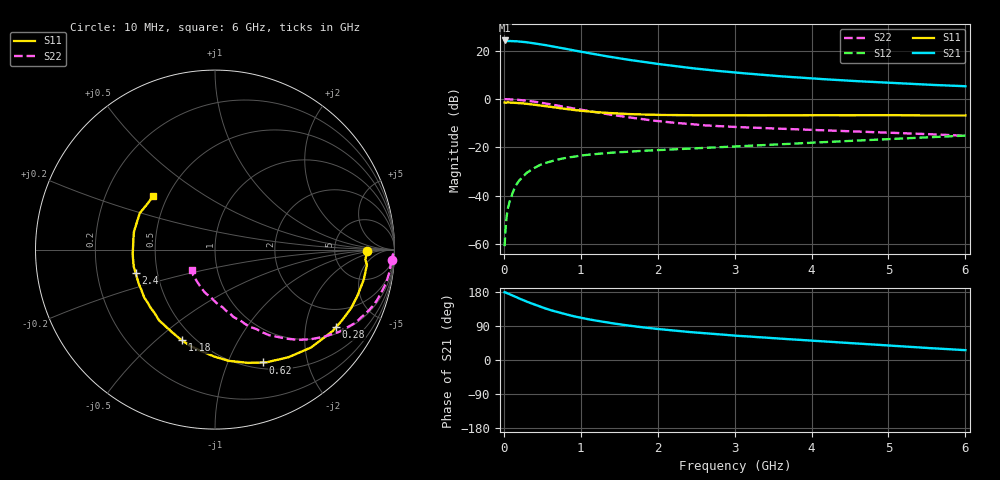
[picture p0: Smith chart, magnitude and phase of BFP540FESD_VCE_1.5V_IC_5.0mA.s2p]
! Infineon Technologies  Discrete & RF Semiconductors
! BFP540FESD
! VCE =  1.5 V,  IC =  5.0 mA
! Common Emitter S-Parameters:  Nov 2015
# GHz  S  MA  R  50
!  f  S11  S21  S12  S22
! GHz  MAG  ANG  MAG  ANG  MAG  ANG  MAG  ANG
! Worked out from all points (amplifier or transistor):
!   210 points, 10 MHz to 6 GHz, reference 50 ohm
!   highest |S21| = 24.2 dB at 10 MHz (marker M1)
!   |S21| within 3 dB of that: start of sweep to 726.3 MHz
!   unconditionally stable (mu >= 1): 2.711 GHz to end of sweep
!   at 185 MHz: K = 0.08, MSG = 29.1 dB, |S12| = -34.4 dB
!   at 1.52 GHz: K = 0.63, MSG = 19.4 dB, |S12| = -22.0 dB
!   at 6 GHz: K = 1.31, MAG = 6.9 dB, |S12| = -15.2 dB
!   S11 on the Smith chart (normalised r, x): 10 MHz: 12, -1; 280 MHz: 1.23, -2.96; 620 MHz: 0.57, -1.35; 1.18 GHz: 0.43, -0.61; 2.4 GHz: 0.38, -0.13; 6 GHz: 0.42, +0.31
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0.01  0.8492 -0.4  16.26 178.8  0.0009 79.1  0.9886 -3.5
0.02  0.8393 -3.8  15.76 178.3  0.0018 82.6  0.9927 -1.5
0.04  0.8468 -5.1  15.84 176.6  0.0041 86.4  0.9874 -2.9
0.07  0.8475 -8.0  15.84 174.0  0.0071 85.6  0.9823 -5.1
0.15  0.8339 -18.2  15.76 167.0  0.0155 82.6  0.9715 -11.0
0.2  0.8255 -23.3  15.45 162.3  0.0205 77.9  0.9564 -14.6
0.28  0.8012 -32.5  15.02 155.6  0.0278 74.2  0.9306 -20.1
0.4  0.7643 -45.5  14.18 146.0  0.0376 66.8  0.8809 -27.7
0.48  0.7318 -53.6  13.55 140.1  0.0437 63.5  0.8393 -32.3
0.62  0.6829 -67.0  12.34 130.8  0.0515 57.7  0.7693 -39.4
0.8  0.6243 -83.0  10.95 120.7  0.0604 52.6  0.6826 -47.5
0.9  0.5958 -90.5  10.2 115.8  0.0635 49.5  0.6394 -51.0
1.02  0.5676 -98.7  9.407 110.7  0.068 47.3  0.593 -54.9
1.18  0.5376 -110.0  8.444 104.5  0.0721 44.7  0.5367 -59.8
1.5  0.5023 -128.4  6.94 94.2  0.0789 41.1  0.4456 -68.1
1.76  0.4793 -140.4  6.009 87.3  0.0837 39.5  0.3906 -74.4
2.02  0.4676 -151.2  5.273 81.5  0.0882 38.2  0.3466 -79.7
2.4  0.4609 -163.3  4.422 74.1  0.0937 37.2  0.3064 -86.5
3.1  0.4578 -179.1  3.427 63.1  0.106 36.6  0.2602 -97.7
4.1  0.4617 166.0  2.605 49.8  0.1267 35.4  0.2263 -110.0
5.1  0.4628 152.6  2.13 37.0  0.151 31.8  0.1981 -122.6
6  0.4559 139.1  1.837 25.9  0.1747 27.6  0.1731 -138.0
